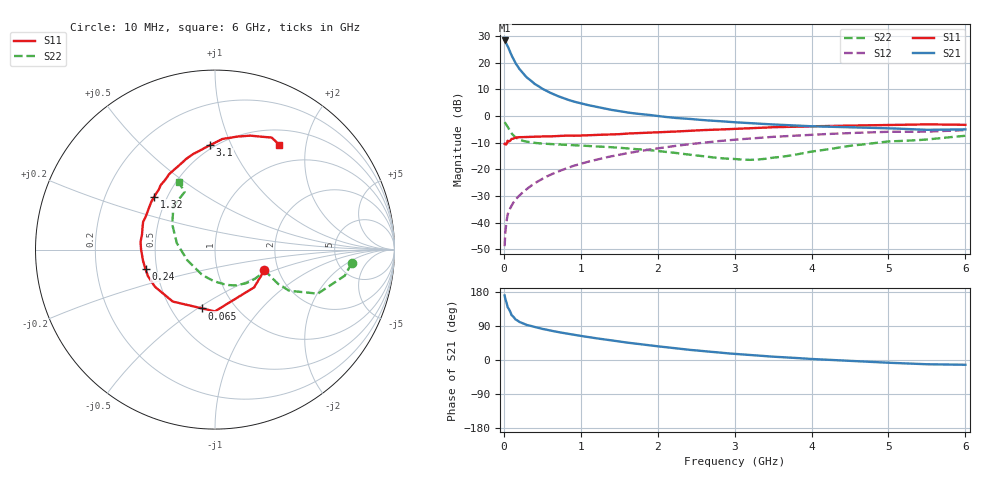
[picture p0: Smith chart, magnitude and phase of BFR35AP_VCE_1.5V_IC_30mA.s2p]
! Infineon Technologies  Discrete & RF Semiconductors
! BFR35AP
! VCE =  1.5 V,  IC =  30 mA
! Common Emitter S-Parameters:  Nov 2015
# GHz  S  MA  R  50
!  f  S11  S21  S12  S22
! GHz  MAG  ANG  MAG  ANG  MAG  ANG  MAG  ANG
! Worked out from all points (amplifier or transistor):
!   210 points, 10 MHz to 6 GHz, reference 50 ohm
!   highest |S21| = 28.4 dB at 10 MHz (marker M1)
!   |S21| within 3 dB of that: start of sweep to 62.97 MHz
!   unconditionally stable (mu >= 1): start of sweep to 40.85 MHz; 68.12 MHz to end of sweep
!   at 185 MHz: K = 1.40, MAG = 20.7 dB, |S12| = -30.3 dB
!   at 1.52 GHz: K = 1.59, MAG = 3.6 dB, |S12| = -14.4 dB
!   at 6 GHz: K = 1.15, MAG = -2.2 dB, |S12| = -5.3 dB
!   S11 on the Smith chart (normalised r, x): 10 MHz: 1.69, -0.43; 65 MHz: 0.71, -0.52; 240 MHz: 0.43, -0.11; 1.32 GHz: 0.43, +0.31; 3.1 GHz: 0.47, +0.83; 6 GHz: 0.70, +1.55
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0.01  0.2985 -22.7  26.34 170.3  0.0036 75.4  0.7662 -5.6
0.02  0.303 -43.9  25.26 161.0  0.0067 74.2  0.7371 -11.4
0.05  0.3443 -90.1  20.58 139.1  0.0143 63.8  0.6234 -23.2
0.065  0.3354 -102.2  18.36 134.6  0.0162 62.6  0.5778 -24.6
0.1  0.373 -129.1  13.85 118.6  0.0208 60.6  0.4732 -29.0
0.15  0.3936 -148.3  9.94 107.3  0.0269 61.0  0.3996 -28.5
0.2  0.4018 -158.6  7.752 100.7  0.032 63.7  0.3631 -26.8
0.24  0.4022 -164.3  6.583 97.1  0.0361 65.2  0.3466 -25.8
0.3  0.4058 -171.1  5.286 92.4  0.0428 67.2  0.3298 -24.8
0.4  0.412 179.8  4.032 87.0  0.0543 69.5  0.3137 -24.2
0.5  0.4171 174.1  3.267 82.1  0.0661 70.3  0.3042 -24.7
0.6  0.4154 168.2  2.755 77.8  0.0784 70.8  0.2992 -26.0
0.7  0.422 163.1  2.383 73.8  0.0903 70.6  0.2945 -27.7
0.8  0.4289 159.1  2.097 70.2  0.1023 69.9  0.2886 -29.6
1.02  0.4318 150.2  1.707 63.0  0.1294 68.3  0.2786 -34.4
1.32  0.4485 138.9  1.373 54.0  0.1665 65.1  0.2639 -42.1
1.64  0.4718 128.6  1.151 44.9  0.2047 61.3  0.2442 -51.5
2.02  0.498 117.9  0.994 35.7  0.2502 56.1  0.219 -64.9
3.1  0.5824 92.7  0.751 14.7  0.3693 39.6  0.1519 -127.3
4.1  0.6462 77.5  0.638 1.7  0.4537 24.3  0.225 165.4
5.1  0.6829 66.9  0.583 -8.0  0.5067 9.5  0.3377 130.5
6  0.6856 58.5  0.563 -12.6  0.5449 -0.5  0.4266 118.3
